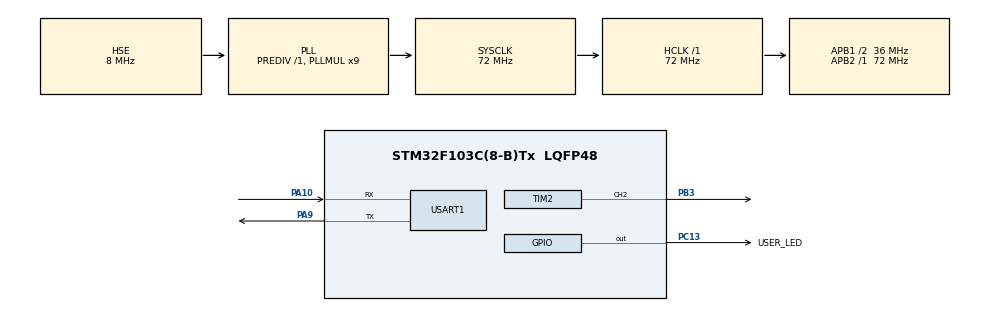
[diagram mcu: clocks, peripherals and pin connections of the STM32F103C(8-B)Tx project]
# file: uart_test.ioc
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Mcu.Family=STM32F1
Mcu.Name=STM32F103C(8-B)Tx
Mcu.Package=LQFP48
NVIC.PriorityGroup=NVIC_PRIORITYGROUP_4
PA10.Mode=Asynchronous
PA10.Signal=USART1_RX
PA13.Mode=Serial_Wire
PA13.Signal=SYS_JTMS-SWDIO
PA14.Mode=Serial_Wire
PA14.Signal=SYS_JTCK-SWCLK
PA9.Mode=Asynchronous
PA9.Signal=USART1_TX
PB3.Signal=S_TIM2_CH2
PC13-TAMPER-RTC.GPIO_Label=USER_LED
PC13-TAMPER-RTC.Signal=GPIO_Output
PD0-OSC_IN.Mode=HSE-External-Oscillator
PD0-OSC_IN.Signal=RCC_OSC_IN
PD1-OSC_OUT.Mode=HSE-External-Oscillator
PD1-OSC_OUT.Signal=RCC_OSC_OUT
ProjectManager.HeapSize=0x200
ProjectManager.StackSize=0x400
ProjectManager.TargetToolchain=MDK-ARM V5
RCC.AHBFreq_Value=72000000
RCC.APB1CLKDivider=RCC_HCLK_DIV2
RCC.APB1Freq_Value=36000000
RCC.APB1TimFreq_Value=72000000
RCC.APB2Freq_Value=72000000
RCC.APB2TimFreq_Value=72000000
RCC.HCLKFreq_Value=72000000
RCC.PLLMUL=RCC_PLL_MUL9
RCC.PLLSourceVirtual=RCC_PLLSOURCE_HSE
RCC.SYSCLKFreq_VALUE=72000000
RCC.SYSCLKSource=RCC_SYSCLKSOURCE_PLLCLK
RCC.USBFreq_Value=72000000
SH.S_TIM2_CH2.0=TIM2_CH2,PWM Generation2 CH2
TIM2.Channel-PWM\ Generation2\ CH2=TIM_CHANNEL_2
TIM2.OCPolarity_2=TIM_OCPOLARITY_HIGH
TIM2.Period=2000
TIM2.Prescaler=7
USART1.VirtualMode=VM_ASYNC
VP_TIM2_VS_ClockSourceINT.Mode=Internal
board=uart_test

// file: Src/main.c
/**
  ******************************************************************************
  * File Name          : main.c
  * Description        : Main program body
  ******************************************************************************
  ** This notice applies to any and all portions of this file
  * that are not between comment pairs USER CODE BEGIN and
  * USER CODE END. Other portions of this file, whether
  * inserted by the user or by software development tools
  * are owned by their respective copyright owners.
  *
  * COPYRIGHT(c) 2017 STMicroelectronics
  *
  * Redistribution and use in source and binary forms, with or without modification,
  * are permitted provided that the following conditions are met:
  *   1. Redistributions of source code must retain the above copyright notice,
  *      this list of conditions and the following disclaimer.
  *   2. Redistributions in binary form must reproduce the above copyright notice,
  *      this list of conditions and the following disclaimer in the documentation
  *      and/or other materials provided with the distribution.
  *   3. Neither the name of STMicroelectronics nor the names of its contributors
  *      may be used to endorse or promote products derived from this software
  *      without specific prior written permission.
  *
  * THIS SOFTWARE IS PROVIDED BY THE COPYRIGHT HOLDERS AND CONTRIBUTORS "AS IS"
  * AND ANY EXPRESS OR IMPLIED WARRANTIES, INCLUDING, BUT NOT LIMITED TO, THE
  * IMPLIED WARRANTIES OF MERCHANTABILITY AND FITNESS FOR A PARTICULAR PURPOSE ARE
  * DISCLAIMED. IN NO EVENT SHALL THE COPYRIGHT HOLDER OR CONTRIBUTORS BE LIABLE
  * FOR ANY DIRECT, INDIRECT, INCIDENTAL, SPECIAL, EXEMPLARY, OR CONSEQUENTIAL
  * DAMAGES (INCLUDING, BUT NOT LIMITED TO, PROCUREMENT OF SUBSTITUTE GOODS OR
  * SERVICES; LOSS OF USE, DATA, OR PROFITS; OR BUSINESS INTERRUPTION) HOWEVER
  * CAUSED AND ON ANY THEORY OF LIABILITY, WHETHER IN CONTRACT, STRICT LIABILITY,
  * OR TORT (INCLUDING NEGLIGENCE OR OTHERWISE) ARISING IN ANY WAY OUT OF THE USE
  * OF THIS SOFTWARE, EVEN IF ADVISED OF THE POSSIBILITY OF SUCH DAMAGE.
  *
  ******************************************************************************
  */
#include "main.h"
#include "stm32f1xx_hal.h"
#include "tim.h"
#include "usart.h"
#include "gpio.h"

/* USER CODE BEGIN PV */
/* Private variables ---------------------------------------------------------*/
extern UART_HandleTypeDef huart1; // handle para el serial
extern TIM_HandleTypeDef htim2;
uint8_t tx_buffer[40];

volatile uint8_t flag = 0;

/* USER CODE END PV */

void SystemClock_Config(void);

/* USER CODE BEGIN PFP */
/* Private function prototypes -----------------------------------------------*/

/* USER CODE END PFP */

int main(void)
{

  /* USER CODE BEGIN 1 */
  uint32_t contador = 0;
  /* USER CODE END 1 */

  /* MCU Configuration----------------------------------------------------------*/

  /* Reset of all peripherals, Initializes the Flash interface and the Systick. */
  HAL_Init();

  /* Configure the system clock */
  SystemClock_Config();

  /* Initialize all configured peripherals */
  MX_GPIO_Init();
  MX_USART1_UART_Init();
  MX_TIM2_Init();

  /* USER CODE BEGIN 2 */
  HAL_TIM_PWM_Start(&htim2, TIM_CHANNEL_2);    // iniciar el timer
  /* USER CODE END 2 */

  /* Infinite loop */
  while (1)
  {

  /* USER CODE BEGIN 3 */
    for(int i = 0; i < 2000; i+=50)
    {
      TIM2->CCR2 = i;
      HAL_Delay(30);
    }

  if(flag)
    {
      uint16_t size = sprintf((char *)tx_buffer, "hola mundo %d \n", contador++);
      HAL_UART_Transmit(&huart1, (uint8_t *)tx_buffer, size, 100);
      flag = 0;
    }
  }
  /* USER CODE END 3 */

}

/** System Clock Configuration
*/
void SystemClock_Config(void)
{

  RCC_OscInitTypeDef RCC_OscInitStruct;
  RCC_ClkInitTypeDef RCC_ClkInitStruct;

    /**Initializes the CPU, AHB and APB busses clocks
    */
  RCC_OscInitStruct.OscillatorType = RCC_OSCILLATORTYPE_HSE;
  RCC_OscInitStruct.HSEState = RCC_HSE_ON;
  RCC_OscInitStruct.HSEPredivValue = RCC_HSE_PREDIV_DIV1;
  RCC_OscInitStruct.HSIState = RCC_HSI_ON;
  RCC_OscInitStruct.PLL.PLLState = RCC_PLL_ON;
  RCC_OscInitStruct.PLL.PLLSource = RCC_PLLSOURCE_HSE;
  RCC_OscInitStruct.PLL.PLLMUL = RCC_PLL_MUL9;
  if (HAL_RCC_OscConfig(&RCC_OscInitStruct) != HAL_OK)
  {
    _Error_Handler(__FILE__, __LINE__);
  }

    /**Initializes the CPU, AHB and APB busses clocks
    */
  RCC_ClkInitStruct.ClockType = RCC_CLOCKTYPE_HCLK|RCC_CLOCKTYPE_SYSCLK
                              |RCC_CLOCKTYPE_PCLK1|RCC_CLOCKTYPE_PCLK2;
  RCC_ClkInitStruct.SYSCLKSource = RCC_SYSCLKSOURCE_PLLCLK;
  RCC_ClkInitStruct.AHBCLKDivider = RCC_SYSCLK_DIV1;
  RCC_ClkInitStruct.APB1CLKDivider = RCC_HCLK_DIV2;
  RCC_ClkInitStruct.APB2CLKDivider = RCC_HCLK_DIV1;

  if (HAL_RCC_ClockConfig(&RCC_ClkInitStruct, FLASH_LATENCY_2) != HAL_OK)
  {
    _Error_Handler(__FILE__, __LINE__);
  }

    /**Configure the Systick interrupt time
    */
  HAL_SYSTICK_Config(HAL_RCC_GetHCLKFreq()/1000);

    /**Configure the Systick
    */
  HAL_SYSTICK_CLKSourceConfig(SYSTICK_CLKSOURCE_HCLK);

  /* SysTick_IRQn interrupt configuration */
  HAL_NVIC_SetPriority(SysTick_IRQn, 0, 0);
}

/* USER CODE BEGIN 4 */
void HAL_TIM_PeriodElapsedCallback(TIM_HandleTypeDef *htim)
{
  if(htim->Instance == TIM2)
  {
    flag = 1;
    HAL_GPIO_TogglePin(USER_LED_GPIO_Port, USER_LED_Pin);
  }
}
/* USER CODE END 4 */

void _Error_Handler(char * file, int line)
{
  while(1)
  {
  }
}

/************************ (C) COPYRIGHT STMicroelectronics *****END OF FILE****/
